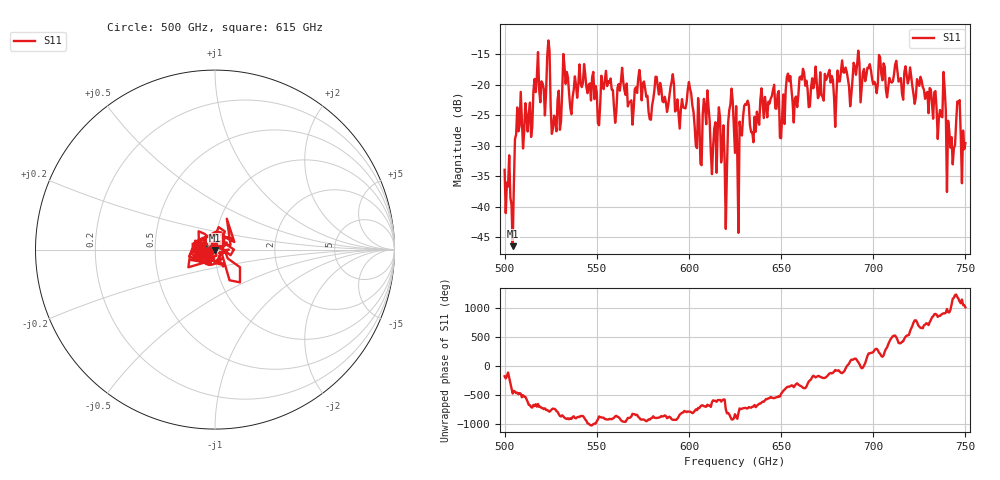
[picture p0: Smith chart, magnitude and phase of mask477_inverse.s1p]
!Created with skrf (http://scikit-rf.org).
# GHz S MA R 50.0
!freq magS11 angS11
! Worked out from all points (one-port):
!   401 points, 500 GHz to 750 GHz, reference 50 ohm
!   lowest |S11| = -46.5 dB at 504.4 GHz (marker M1), VSWR 1.01, Z = 49.8 - j0.441 ohm
!   |S11| at or under -10 dB: start of sweep to end of sweep
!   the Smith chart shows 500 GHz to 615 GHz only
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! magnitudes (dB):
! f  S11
! 500 GHz  -34.0
! 504.4 GHz  -46.5
! 507.5 GHz  -27.7
! 513.8 GHz  -23.0
! 516.9 GHz  -21.2
! 523.8 GHz  -12.8
! 526.9 GHz  -25.1
! 531.2 GHz  -21.1
! 562.5 GHz  -21.0
! 579.4 GHz  -25.8
! 590.6 GHz  -19.5
! 593.8 GHz  -22.4
! 600.6 GHz  -20.7
! 605.6 GHz  -25.5
! 609.4 GHz  -26.5
! 613.8 GHz  -27.2
! 617.5 GHz  -32.8
! 619.4 GHz  -32.5
! 622.5 GHz  -23.3
! 625 GHz  -31.2
! 627.5 GHz  -26.1
! 631.2 GHz  -23.3
! 635 GHz  -29.5
! 656.2 GHz  -22.9
! 687.5 GHz  -23.6
! 690.6 GHz  -18.4
! 718.8 GHz  -19.8
! 750 GHz  -29.6
